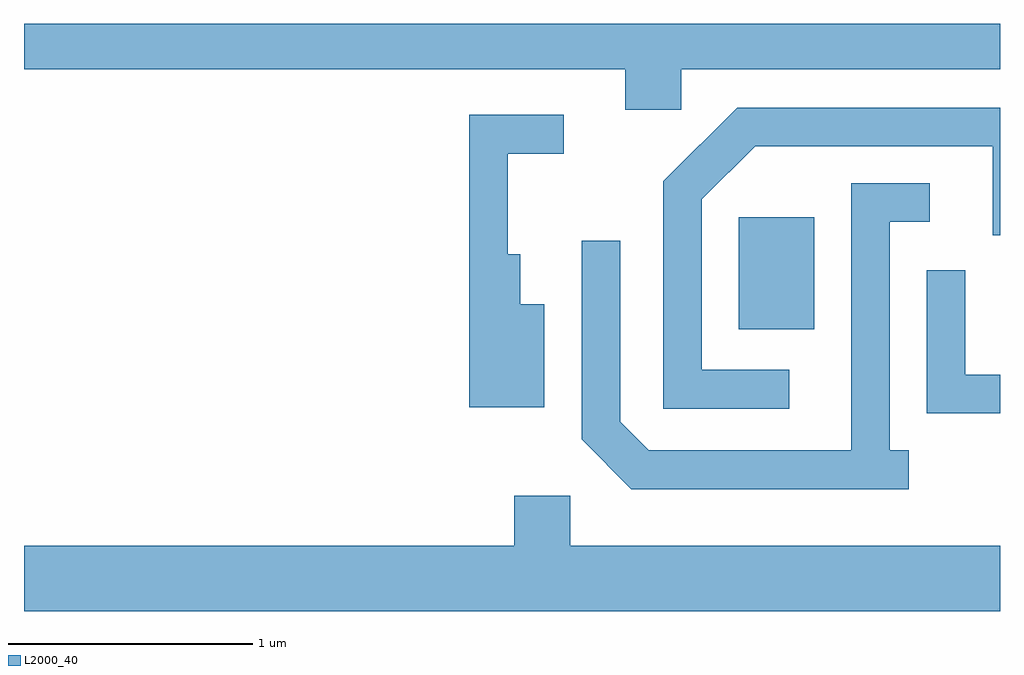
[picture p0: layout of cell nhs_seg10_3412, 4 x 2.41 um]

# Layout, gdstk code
import gdstk
lib = gdstk.Library(unit=1e-6, precision=1e-09)
def R(c, l, rs):  # rectangles x0, y0, x1, y1
    for r in rs: c.add(gdstk.rectangle(r[:2], r[2:], *l))
def P(c, l, *ps):  # polygons
    for p in ps: c.add(gdstk.Polygon(p, *l))
L2000_40 = (2000, 40)

nhs_seg10_3412 = lib.new_cell('nhs_seg10_3412')
R(nhs_seg10_3412, L2000_40, [(288.541,2137.271,288.849,2137.729)])
P(nhs_seg10_3412, L2000_40, [(288.304,2138.336),(289.611,2138.336),(289.611,2138.522),(285.611,2138.522),(285.611,2138.336),(288.076,2138.336),(288.076,2138.171),(288.304,2138.171)],
  [(288.748,2137.104),(288.389,2137.104),(288.389,2137.804),(288.607,2138.021),(289.581,2138.021),(289.581,2137.656),(289.611,2137.656),(289.611,2138.179),(288.534,2138.179),(288.231,2137.877),(288.231,2136.946),(288.748,2136.946)],
  [(287.744,2137.374),(287.644,2137.374),(287.644,2137.579),(287.594,2137.579),(287.594,2137.991),(287.823,2137.991),(287.823,2138.149),(287.436,2138.149),(287.436,2136.951),(287.744,2136.951)],
  [(289.238,2136.774),(289.159,2136.774),(289.159,2137.711),(289.323,2137.711),(289.323,2137.869),(289.001,2137.869),(289.001,2136.774),(288.172,2136.774),(288.054,2136.892),(288.054,2137.633),(287.896,2137.633),(287.896,2136.819),(288.099,2136.616),(289.238,2136.616)],
  [(289.611,2137.084),(289.469,2137.084),(289.469,2137.513),(289.311,2137.513),(289.311,2136.926),(289.611,2136.926)],
  [(289.611,2136.384),(287.849,2136.384),(287.849,2136.589),(287.621,2136.589),(287.621,2136.384),(285.611,2136.384),(285.611,2136.116),(289.611,2136.116)])

lib.write_gds('nhs_seg10_3412.gds')
